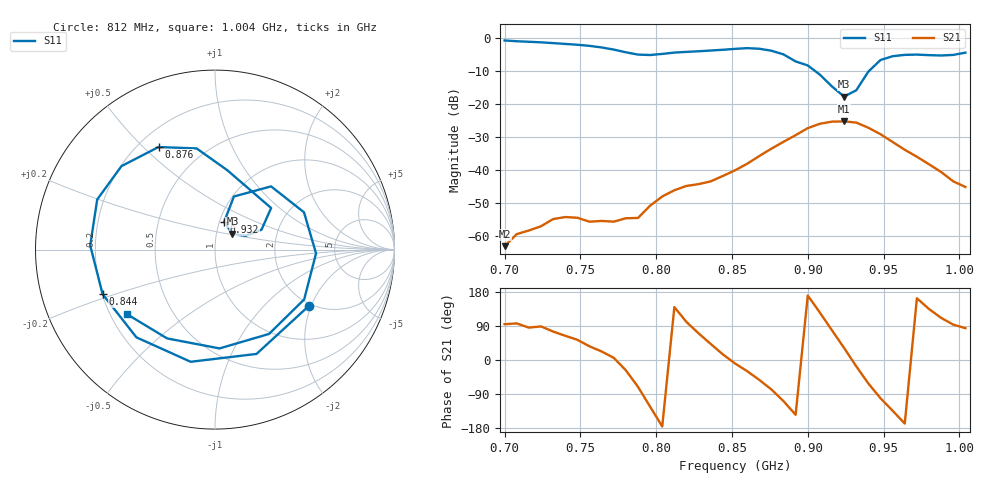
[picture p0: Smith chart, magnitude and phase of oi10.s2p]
# Hz S RI R 50
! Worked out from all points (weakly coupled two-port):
!   39 points, 700 MHz to 1.004 GHz, reference 50 ohm
!   highest |S21| = -25.22 dB at 924 MHz (marker M1); lowest = -63.2 dB at 700 MHz (marker M2)
!   lowest |S11| = -17.7 dB at 924 MHz (marker M3), VSWR 1.30, Z = 59.7 + j10.7 ohm
!   |S11| at or under -10 dB: 905.2 MHz to 940.1 MHz (34.98 MHz wide, 3.79 % of centre)
!   S12 and S22 are empty: the file has one direction only
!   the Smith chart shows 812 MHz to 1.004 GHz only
!   S11 on the Smith chart (normalised r, x): 812 MHz: 1.94, -1.93; 844 MHz: 0.20, -0.18; 876 MHz: 0.28, +0.56; 932 MHz: 1.05, +0.34; 1.004 GHz: 0.27, -0.30
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7e8  0.7667 0.5326  -5.39e-05 0.000693  0 0  0 0
7.24e8  0.8352 -0.2586  3.38e-05 0.00139  0 0  0 0
7.4e8  0.4418 -0.6988  0.000849 0.00173  0 0  0 0
7.56e8  -0.1966 -0.7473  0.00132 0.000965  0 0  0 0
7.72e8  -0.652 -0.1869  0.00163 0.000163  0 0  0 0
7.8e8  -0.571 0.2333  0.00164 -0.000844  0 0  0 0
7.88e8  -0.2153 0.5269  0.000612 -0.00176  0 0  0 0
7.96e8  0.2668 0.4931  -0.00157 -0.0024  0 0  0 0
8.04e8  0.567 0.1339  -0.00395 -0.00032  0 0  0 0
8.12e8  0.5251 -0.3118  -0.00375 0.00319  0 0  0 0
8.28e8  -0.1353 -0.6251  0.00206 0.00574  0 0  0 0
8.44e8  -0.6259 -0.2489  0.00785 0.00208  0 0  0 0
8.52e8  -0.6952 0.023  0.00976 -0.00157  0 0  0 0
8.76e8  -0.3147 0.5714  0.00451 -0.0206  0 0  0 0
9e8  0.3127 0.2318  -0.0427 0.00738  0 0  0 0
9.08e8  0.2592 0.111  -0.029 0.0413  0 0  0 0
9.24e8  0.0969 0.0881  0.0467 0.0287  0 0  0 0
9.32e8  0.0512 0.1548  0.0504 -0.0151  0 0  0 0
9.48e8  0.3124 0.3522  -0.0066 -0.0344  0 0  0 0
9.56e8  0.4958 0.2079  -0.0185 -0.0192  0 0  0 0
9.8e8  0.3012 -0.4698  -0.00857 0.00872  0 0  0 0
1.004e9  -0.493 -0.3582  0.000574 0.00549  0 0  0 0
